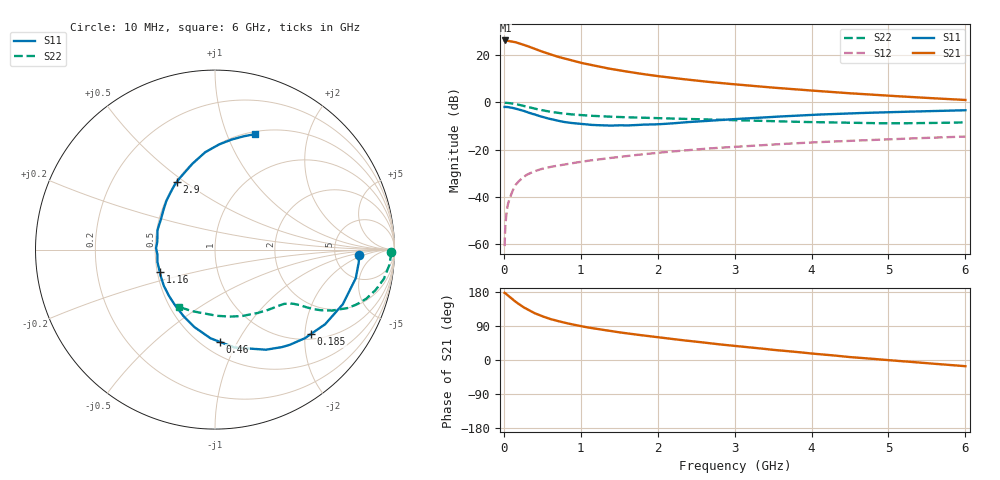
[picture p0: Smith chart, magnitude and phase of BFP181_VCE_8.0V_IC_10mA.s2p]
! Infineon Technologies  Discrete & RF Semiconductors
! BFP181
! VCE = 8.0 V,  IC =  10 mA
! Common Emitter S-Parameters:  Jan 2016
# GHz  S  MA  R  50
!  f  S11  S21  S12  S22
! GHz  MAG  ANG  MAG  ANG  MAG  ANG  MAG  ANG
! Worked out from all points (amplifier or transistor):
!   210 points, 10 MHz to 6 GHz, reference 50 ohm
!   highest |S21| = 26.2 dB at 20 MHz (marker M1)
!   |S21| within 3 dB of that: start of sweep to 356.9 MHz
!   unconditionally stable (mu >= 1): 1.343 GHz to end of sweep
!   at 185 MHz: K = 0.24, MSG = 29.5 dB, |S12| = -33.8 dB
!   at 1.52 GHz: K = 1.04, MAG = 17.1 dB, |S12| = -23.0 dB
!   at 6 GHz: K = 1.03, MAG = 6.7 dB, |S12| = -14.5 dB
!   S11 on the Smith chart (normalised r, x): 10 MHz: 8.75, -1.57; 185 MHz: 1.13, -2.15; 460 MHz: 0.61, -0.85; 1.16 GHz: 0.52, -0.15; 2.9 GHz: 0.50, +0.46; 6 GHz: 0.53, +1.27
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0.01  0.8007 -2.3  20.49 177.2  0.0009 80.6  0.9808 -0.8
0.02  0.8042 -4.9  20.49 176.1  0.0024 84.2  0.981 -1.9
0.05  0.8003 -11.5  20.23 170.8  0.0066 87.6  0.9749 -5.1
0.115  0.7615 -26.4  19.25 160.0  0.0135 75.5  0.9443 -11.2
0.15  0.7413 -34.1  18.84 154.1  0.0176 72.2  0.922 -14.2
0.185  0.7121 -41.3  18.13 149.0  0.0205 69.4  0.8966 -16.8
0.24  0.6743 -51.9  16.92 141.3  0.0249 65.4  0.8543 -20.5
0.3  0.626 -63.0  15.74 134.2  0.0294 61.3  0.8068 -23.8
0.4  0.5563 -78.7  13.69 123.5  0.0348 56.7  0.7361 -27.5
0.46  0.5154 -86.8  12.56 118.8  0.0375 54.4  0.7024 -28.8
0.6  0.4467 -104.9  10.52 108.4  0.0429 51.5  0.6351 -31.3
0.7  0.4099 -115.4  9.272 102.8  0.0456 50.4  0.6005 -32.3
0.8  0.3808 -126.0  8.389 97.7  0.0488 49.3  0.5747 -32.9
1.02  0.3465 -146.3  6.789 88.7  0.0555 48.6  0.5355 -34.4
1.16  0.3321 -157.7  6.068 83.7  0.0599 48.2  0.5178 -35.5
1.5  0.3287 178.6  4.771 73.0  0.0701 47.6  0.4892 -38.2
2.02  0.3451 150.8  3.572 59.5  0.0861 45.3  0.4626 -44.2
2.9  0.4314 119.7  2.497 39.3  0.1119 40.0  0.4225 -57.0
3.1  0.4513 114.1  2.337 35.3  0.1173 38.6  0.4132 -60.4
4.1  0.5524 94.1  1.734 15.4  0.144 31.0  0.3785 -79.7
5.1  0.6257 80.3  1.356 -2.0  0.1669 23.8  0.3607 -101.6
6  0.6814 70.8  1.125 -16.4  0.1889 16.9  0.3773 -122.1
